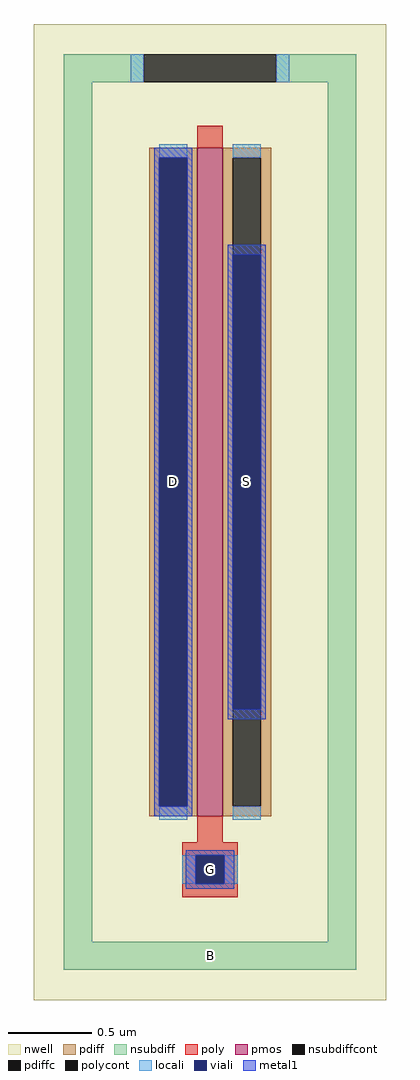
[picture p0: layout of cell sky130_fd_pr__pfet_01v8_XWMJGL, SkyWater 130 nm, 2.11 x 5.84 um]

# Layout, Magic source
magic
tech sky130A
magscale 1 2
<< nwell >>
rect -211 -584 211 584
<< pmos >>
rect -15 -364 15 436
<< pdiff >>
rect -73 424 -15 436
rect -73 -352 -61 424
rect -27 -352 -15 424
rect -73 -364 -15 -352
rect 15 424 73 436
rect 15 -352 27 424
rect 61 -352 73 424
rect 15 -364 73 -352
<< pdiffc >>
rect -61 -352 -27 424
rect 27 -352 61 424
<< nsubdiff >>
rect -175 514 -79 548
rect 79 514 175 548
rect -175 -514 -141 514
rect 141 -514 175 514
rect -175 -548 175 -514
<< nsubdiffcont >>
rect -79 514 79 548
<< poly >>
rect -15 436 15 462
rect -15 -395 15 -364
rect -33 -411 33 -395
rect -33 -445 -17 -411
rect 17 -445 33 -411
rect -33 -461 33 -445
<< polycont >>
rect -17 -445 17 -411
<< locali >>
rect -95 514 -79 548
rect 79 514 95 548
rect -61 424 -27 440
rect -61 -368 -27 -352
rect 27 424 61 440
rect 27 -368 61 -352
rect -33 -445 -17 -411
rect 17 -445 33 -411
<< viali >>
rect -61 -352 -27 424
rect 27 -236 61 308
rect -17 -445 17 -411
<< metal1 >>
rect -67 424 -21 436
rect -67 -352 -61 424
rect -27 -352 -21 424
rect 21 308 67 320
rect 21 -236 27 308
rect 61 -236 67 308
rect 21 -248 67 -236
rect -67 -364 -21 -352
rect -29 -411 29 -405
rect -29 -445 -17 -411
rect 17 -445 29 -411
rect -29 -451 29 -445
<< labels >>
rlabel nsubdiff 0 -531 0 -531 0 B
port 1 nsew
rlabel pdiffc -44 36 -44 36 0 D
port 2 nsew
rlabel pdiffc 44 36 44 36 0 S
port 3 nsew
rlabel polycont 0 -428 0 -428 0 G
port 4 nsew
<< properties >>
string FIXED_BBOX -158 -531 158 531
string gencell sky130_fd_pr__pfet_01v8
string library sky130
string parameters w 4 l 0.15 m 1 nf 1 diffcov 100 polycov 100 guard 1 glc 0 grc 0 gtc 1 gbc 0 tbcov 100 rlcov 100 topc 0 botc 1 poverlap 0 doverlap 1 lmin 0.15 wmin 0.42 class mosfet compatible {sky130_fd_pr__pfet_01v8  sky130_fd_pr__pfet_01v8_lvt sky130_fd_pr__pfet_01v8_hvt  sky130_fd_pr__pfet_g5v0d10v5} full_metal 0 viasrc 70 viadrn 100 viagate 100 viagb 0 viagr 0 viagl 0 viagt 0 doports 1
<< end >>
